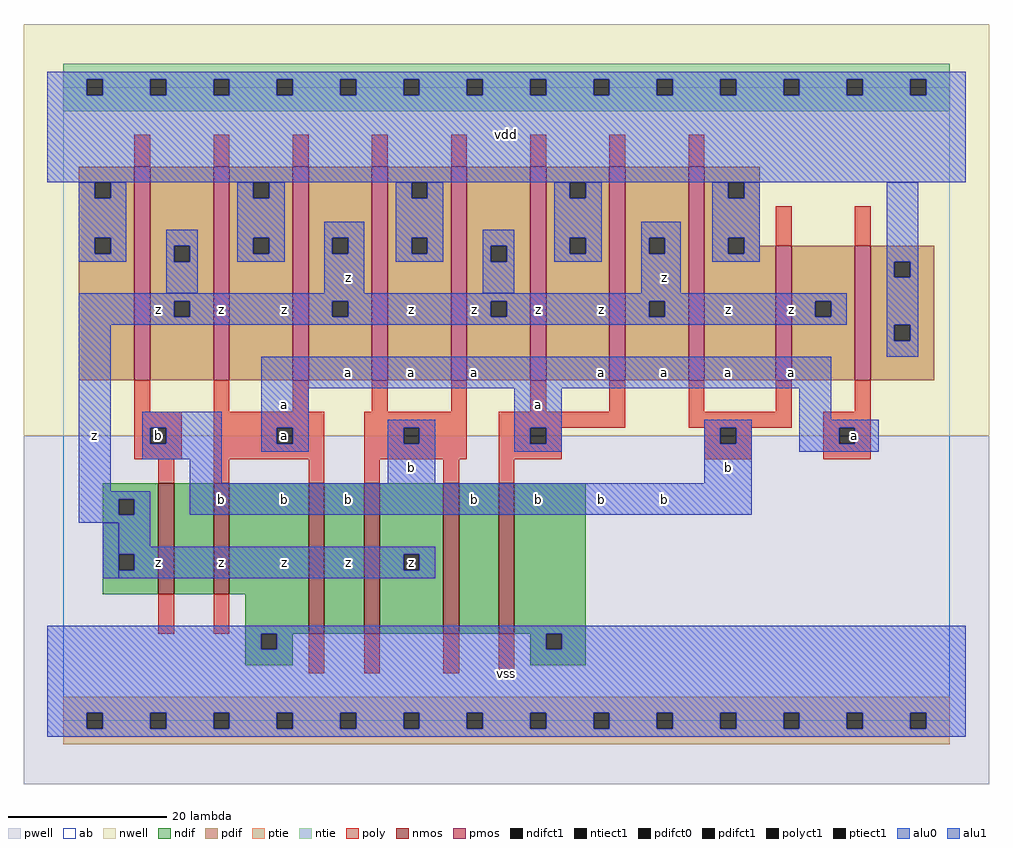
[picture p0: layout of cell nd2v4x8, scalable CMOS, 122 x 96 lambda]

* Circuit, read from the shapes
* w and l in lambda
.subckt nd2v4x8 a b vdd vss z
M1 n1 b z vss nfet w=14 l=2
M2 vss a n1 vss nfet w=14 l=2
M3 n2 a vss vss nfet w=19 l=2
M4 z b n2 vss nfet w=19 l=2
M5 n3 b z vss nfet w=19 l=2
M6 vss a n3 vss nfet w=19 l=2
M7 z b vdd vdd pfet w=27 l=2 m=4
M8 vdd a z vdd pfet w=27 l=2 m=4
M9 z b vdd vdd pfet w=17 l=2
M10 vdd a z vdd pfet w=17 l=2
.ends

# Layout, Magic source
magic
tech scmos
<< ab >>
rect 0 0 112 80
<< nwell >>
rect -5 36 117 88
<< pwell >>
rect -5 -8 117 36
<< poly >>
rect 9 70 11 74
rect 19 70 21 74
rect 29 70 31 74
rect 39 70 41 74
rect 49 70 51 74
rect 59 70 61 74
rect 69 70 71 74
rect 79 70 81 74
rect 90 60 92 65
rect 100 60 102 65
rect 9 39 11 43
rect 19 39 21 43
rect 29 39 31 43
rect 39 39 41 43
rect 49 39 51 43
rect 59 39 61 43
rect 69 39 71 43
rect 9 37 15 39
rect 9 35 11 37
rect 13 35 15 37
rect 9 33 15 35
rect 19 37 33 39
rect 19 35 27 37
rect 29 35 33 37
rect 19 33 33 35
rect 12 30 14 33
rect 19 30 21 33
rect 31 30 33 33
rect 38 37 51 39
rect 38 35 43 37
rect 45 35 51 37
rect 38 33 51 35
rect 55 37 71 39
rect 79 39 81 43
rect 90 39 92 43
rect 100 39 102 43
rect 79 37 92 39
rect 96 37 102 39
rect 55 35 59 37
rect 61 35 63 37
rect 55 33 63 35
rect 81 35 83 37
rect 85 35 87 37
rect 81 33 87 35
rect 96 35 98 37
rect 100 35 102 37
rect 96 33 102 35
rect 38 30 40 33
rect 48 30 50 33
rect 55 30 57 33
rect 12 11 14 16
rect 19 11 21 16
rect 31 6 33 11
rect 38 6 40 11
rect 48 6 50 11
rect 55 6 57 11
<< ndif >>
rect 5 28 12 30
rect 5 26 7 28
rect 9 26 12 28
rect 5 21 12 26
rect 5 19 7 21
rect 9 19 12 21
rect 5 16 12 19
rect 14 16 19 30
rect 21 16 31 30
rect 23 11 31 16
rect 33 11 38 30
rect 40 21 48 30
rect 40 19 43 21
rect 45 19 48 21
rect 40 11 48 19
rect 50 11 55 30
rect 57 11 66 30
rect 23 9 25 11
rect 27 9 29 11
rect 23 7 29 9
rect 59 9 61 11
rect 63 9 66 11
rect 59 7 66 9
<< pdif >>
rect 2 68 9 70
rect 2 66 4 68
rect 6 66 9 68
rect 2 61 9 66
rect 2 59 4 61
rect 6 59 9 61
rect 2 43 9 59
rect 11 60 19 70
rect 11 58 14 60
rect 16 58 19 60
rect 11 53 19 58
rect 11 51 14 53
rect 16 51 19 53
rect 11 43 19 51
rect 21 68 29 70
rect 21 66 24 68
rect 26 66 29 68
rect 21 61 29 66
rect 21 59 24 61
rect 26 59 29 61
rect 21 43 29 59
rect 31 61 39 70
rect 31 59 34 61
rect 36 59 39 61
rect 31 53 39 59
rect 31 51 34 53
rect 36 51 39 53
rect 31 43 39 51
rect 41 68 49 70
rect 41 66 44 68
rect 46 66 49 68
rect 41 61 49 66
rect 41 59 44 61
rect 46 59 49 61
rect 41 43 49 59
rect 51 60 59 70
rect 51 58 54 60
rect 56 58 59 60
rect 51 53 59 58
rect 51 51 54 53
rect 56 51 59 53
rect 51 43 59 51
rect 61 68 69 70
rect 61 66 64 68
rect 66 66 69 68
rect 61 61 69 66
rect 61 59 64 61
rect 66 59 69 61
rect 61 43 69 59
rect 71 61 79 70
rect 71 59 74 61
rect 76 59 79 61
rect 71 53 79 59
rect 71 51 74 53
rect 76 51 79 53
rect 71 43 79 51
rect 81 68 88 70
rect 81 66 84 68
rect 86 66 88 68
rect 81 61 88 66
rect 81 59 84 61
rect 86 60 88 61
rect 86 59 90 60
rect 81 43 90 59
rect 92 53 100 60
rect 92 51 95 53
rect 97 51 100 53
rect 92 43 100 51
rect 102 58 110 60
rect 102 56 105 58
rect 107 56 110 58
rect 102 50 110 56
rect 102 48 105 50
rect 107 48 110 50
rect 102 43 110 48
<< alu1 >>
rect -2 81 114 82
rect -2 79 3 81
rect 5 79 11 81
rect 13 79 19 81
rect 21 79 27 81
rect 29 79 35 81
rect 37 79 43 81
rect 45 79 51 81
rect 53 79 59 81
rect 61 79 67 81
rect 69 79 75 81
rect 77 79 83 81
rect 85 79 91 81
rect 93 79 99 81
rect 101 79 107 81
rect 109 79 114 81
rect -2 68 114 79
rect 33 61 38 63
rect 33 59 34 61
rect 36 59 38 61
rect 33 54 38 59
rect 73 61 78 63
rect 73 59 74 61
rect 76 59 78 61
rect 73 54 78 59
rect 2 53 99 54
rect 2 51 14 53
rect 16 51 34 53
rect 36 51 54 53
rect 56 51 74 53
rect 76 51 95 53
rect 97 51 99 53
rect 2 50 99 51
rect 2 29 6 50
rect 25 42 97 46
rect 10 37 20 39
rect 10 35 11 37
rect 13 35 20 37
rect 10 33 20 35
rect 25 37 31 42
rect 25 35 27 37
rect 29 35 31 37
rect 25 34 31 35
rect 41 37 47 38
rect 41 35 43 37
rect 45 35 47 37
rect 16 30 20 33
rect 41 30 47 35
rect 57 37 63 42
rect 93 38 97 42
rect 57 35 59 37
rect 61 35 63 37
rect 57 34 63 35
rect 81 37 87 38
rect 81 35 83 37
rect 85 35 87 37
rect 81 30 87 35
rect 93 37 103 38
rect 93 35 98 37
rect 100 35 103 37
rect 93 34 103 35
rect 2 28 11 29
rect 2 26 7 28
rect 9 26 11 28
rect 16 26 87 30
rect 2 25 11 26
rect 7 22 11 25
rect 7 21 47 22
rect 9 19 43 21
rect 45 19 47 21
rect 7 18 47 19
rect -2 11 114 12
rect -2 9 25 11
rect 27 9 61 11
rect 63 9 114 11
rect -2 1 114 9
rect -2 -1 3 1
rect 5 -1 11 1
rect 13 -1 19 1
rect 21 -1 27 1
rect 29 -1 35 1
rect 37 -1 43 1
rect 45 -1 51 1
rect 53 -1 59 1
rect 61 -1 67 1
rect 69 -1 75 1
rect 77 -1 83 1
rect 85 -1 91 1
rect 93 -1 99 1
rect 101 -1 107 1
rect 109 -1 114 1
rect -2 -2 114 -1
<< ptie >>
rect 0 1 112 3
rect 0 -1 3 1
rect 5 -1 11 1
rect 13 -1 19 1
rect 21 -1 27 1
rect 29 -1 35 1
rect 37 -1 43 1
rect 45 -1 51 1
rect 53 -1 59 1
rect 61 -1 67 1
rect 69 -1 75 1
rect 77 -1 83 1
rect 85 -1 91 1
rect 93 -1 99 1
rect 101 -1 107 1
rect 109 -1 112 1
rect 0 -3 112 -1
<< ntie >>
rect 0 81 112 83
rect 0 79 3 81
rect 5 79 11 81
rect 13 79 19 81
rect 21 79 27 81
rect 29 79 35 81
rect 37 79 43 81
rect 45 79 51 81
rect 53 79 59 81
rect 61 79 67 81
rect 69 79 75 81
rect 77 79 83 81
rect 85 79 91 81
rect 93 79 99 81
rect 101 79 107 81
rect 109 79 112 81
rect 0 77 112 79
<< nmos >>
rect 12 16 14 30
rect 19 16 21 30
rect 31 11 33 30
rect 38 11 40 30
rect 48 11 50 30
rect 55 11 57 30
<< pmos >>
rect 9 43 11 70
rect 19 43 21 70
rect 29 43 31 70
rect 39 43 41 70
rect 49 43 51 70
rect 59 43 61 70
rect 69 43 71 70
rect 79 43 81 70
rect 90 43 92 60
rect 100 43 102 60
<< polyct1 >>
rect 11 35 13 37
rect 27 35 29 37
rect 43 35 45 37
rect 59 35 61 37
rect 83 35 85 37
rect 98 35 100 37
<< ndifct1 >>
rect 7 26 9 28
rect 7 19 9 21
rect 43 19 45 21
rect 25 9 27 11
rect 61 9 63 11
<< ntiect1 >>
rect 3 79 5 81
rect 11 79 13 81
rect 19 79 21 81
rect 27 79 29 81
rect 35 79 37 81
rect 43 79 45 81
rect 51 79 53 81
rect 59 79 61 81
rect 67 79 69 81
rect 75 79 77 81
rect 83 79 85 81
rect 91 79 93 81
rect 99 79 101 81
rect 107 79 109 81
<< ptiect1 >>
rect 3 -1 5 1
rect 11 -1 13 1
rect 19 -1 21 1
rect 27 -1 29 1
rect 35 -1 37 1
rect 43 -1 45 1
rect 51 -1 53 1
rect 59 -1 61 1
rect 67 -1 69 1
rect 75 -1 77 1
rect 83 -1 85 1
rect 91 -1 93 1
rect 99 -1 101 1
rect 107 -1 109 1
<< pdifct0 >>
rect 4 66 6 68
rect 4 59 6 61
rect 14 58 16 60
rect 24 66 26 68
rect 24 59 26 61
rect 44 66 46 68
rect 44 59 46 61
rect 54 58 56 60
rect 64 66 66 68
rect 64 59 66 61
rect 84 66 86 68
rect 84 59 86 61
rect 105 56 107 58
rect 105 48 107 50
<< pdifct1 >>
rect 14 51 16 53
rect 34 59 36 61
rect 34 51 36 53
rect 54 51 56 53
rect 74 59 76 61
rect 74 51 76 53
rect 95 51 97 53
<< alu0 >>
rect 2 66 4 68
rect 6 66 8 68
rect 2 61 8 66
rect 22 66 24 68
rect 26 66 28 68
rect 2 59 4 61
rect 6 59 8 61
rect 2 58 8 59
rect 13 60 17 62
rect 13 58 14 60
rect 16 58 17 60
rect 22 61 28 66
rect 42 66 44 68
rect 46 66 48 68
rect 22 59 24 61
rect 26 59 28 61
rect 22 58 28 59
rect 13 54 17 58
rect 42 61 48 66
rect 62 66 64 68
rect 66 66 68 68
rect 42 59 44 61
rect 46 59 48 61
rect 42 58 48 59
rect 53 60 57 62
rect 53 58 54 60
rect 56 58 57 60
rect 62 61 68 66
rect 82 66 84 68
rect 86 66 88 68
rect 62 59 64 61
rect 66 59 68 61
rect 62 58 68 59
rect 53 54 57 58
rect 82 61 88 66
rect 82 59 84 61
rect 86 59 88 61
rect 82 58 88 59
rect 104 58 108 68
rect 104 56 105 58
rect 107 56 108 58
rect 104 50 108 56
rect 104 48 105 50
rect 107 48 108 50
rect 104 46 108 48
rect 5 18 7 25
<< labels >>
rlabel alu1 12 20 12 20 6 z
rlabel polyct1 12 36 12 36 6 b
rlabel alu1 4 36 4 36 6 z
rlabel alu1 12 52 12 52 6 z
rlabel alu1 20 20 20 20 6 z
rlabel alu1 20 28 20 28 6 b
rlabel alu1 28 20 28 20 6 z
rlabel alu1 28 28 28 28 6 b
rlabel alu1 36 20 36 20 6 z
rlabel alu1 36 28 36 28 6 b
rlabel polyct1 28 36 28 36 6 a
rlabel alu1 28 40 28 40 6 a
rlabel alu1 36 44 36 44 6 a
rlabel alu1 28 52 28 52 6 z
rlabel alu1 20 52 20 52 6 z
rlabel alu1 36 56 36 56 6 z
rlabel alu1 56 6 56 6 6 vss
rlabel ndifct1 44 20 44 20 6 z
rlabel alu1 52 28 52 28 6 b
rlabel alu1 60 28 60 28 6 b
rlabel alu1 44 32 44 32 6 b
rlabel alu1 44 44 44 44 6 a
rlabel alu1 52 44 52 44 6 a
rlabel alu1 60 40 60 40 6 a
rlabel alu1 52 52 52 52 6 z
rlabel alu1 60 52 60 52 6 z
rlabel alu1 44 52 44 52 6 z
rlabel alu1 56 74 56 74 6 vdd
rlabel alu1 68 28 68 28 6 b
rlabel alu1 76 28 76 28 6 b
rlabel alu1 84 32 84 32 6 b
rlabel alu1 68 44 68 44 6 a
rlabel alu1 76 44 76 44 6 a
rlabel alu1 84 44 84 44 6 a
rlabel alu1 84 52 84 52 6 z
rlabel alu1 68 52 68 52 6 z
rlabel alu1 76 56 76 56 6 z
rlabel alu1 92 44 92 44 6 a
rlabel alu1 100 36 100 36 6 a
rlabel alu1 92 52 92 52 6 z
<< end >>
